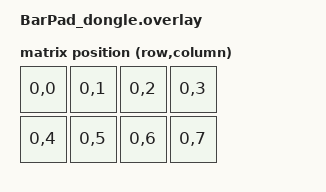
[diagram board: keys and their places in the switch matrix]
#include <dt-bindings/zmk/matrix_transform.h>

/ {
    chosen {
        zmk,kscan = &mock_kscan;
        zmk,physical-layout = &physical_layout0;
    };

    mock_kscan: kscan {
        compatible = "zmk,kscan-mock";
        columns = <0>;
        rows = <0>;
        events = <0>;
    };

    direct_transform: matrix_transform {
        compatible = "zmk,matrix-transform";
        columns = <8>;
        rows = <1>;
        map = <
            RC(0,0) RC(0,1) RC(0,2) RC(0,3)
            RC(0,4) RC(0,5) RC(0,6) RC(0,7)
        >;
    };

    physical_layout0: physical_layout_0 {
        compatible = "zmk,physical-layout";
        display-name = "BarPad Layout";
        transform = <&direct_transform>;
        kscan = <&mock_kscan>;
        keys = <
            &key_physical_attrs 100 100 0   0   0 0 0
            &key_physical_attrs 100 100 100 0   0 0 0
            &key_physical_attrs 100 100 200 0   0 0 0
            &key_physical_attrs 100 100 300 0   0 0 0
            &key_physical_attrs 100 100 0   100 0 0 0
            &key_physical_attrs 100 100 100 100 0 0 0
            &key_physical_attrs 100 100 200 100 0 0 0
            &key_physical_attrs 100 100 300 100 0 0 0
        >;
    };
};
